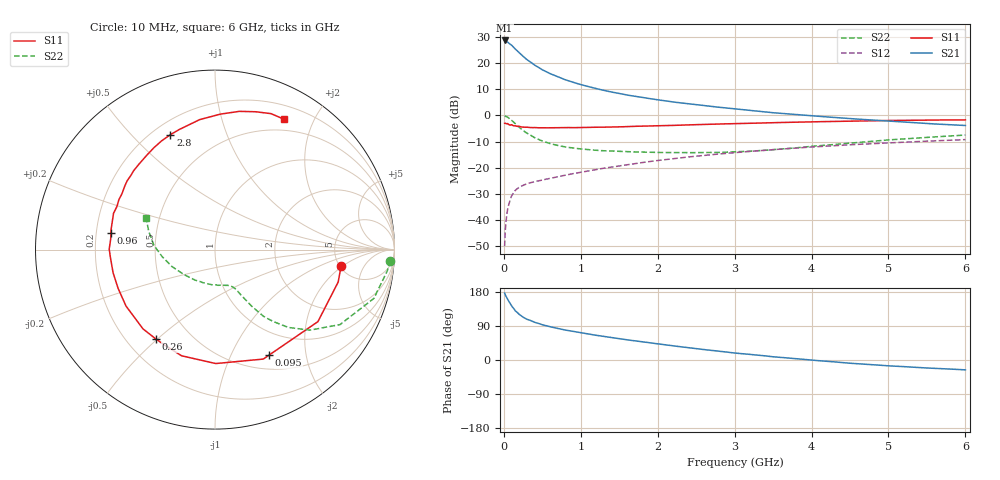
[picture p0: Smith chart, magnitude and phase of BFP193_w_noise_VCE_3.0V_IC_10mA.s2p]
! Infineon Technologies  Discrete & RF Semiconductors
! BFP193
! VCE = 3.0 V,  IC =  10 mA
! Common Emitter S-Parameters:  Jan 2016
# GHz  S  MA  R  50
!  f  S11  S21  S12  S22
! GHz  MAG  ANG  MAG  ANG  MAG  ANG  MAG  ANG
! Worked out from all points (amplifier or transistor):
!   210 points, 10 MHz to 6 GHz, reference 50 ohm
!   highest |S21| = 28.6 dB at 10 MHz (marker M1)
!   |S21| within 3 dB of that: start of sweep to 139.5 MHz
!   unconditionally stable (mu >= 1): 1.005 GHz to 3.741 GHz
!   at 185 MHz: K = 0.32, MSG = 26.0 dB, |S12| = -27.7 dB
!   at 1.52 GHz: K = 1.09, MAG = 11.9 dB, |S12| = -19.1 dB
!   at 6 GHz: K = 0.91, MSG = 2.7 dB, |S12| = -9.2 dB
!   lowest NFmin = 1.30 dB at 450 MHz
!   S11 on the Smith chart (normalised r, x): 10 MHz: 5.11, -1.92; 95 MHz: 0.67, -1.41; 260 MHz: 0.32, -0.49; 960 MHz: 0.26, +0.07; 2.8 GHz: 0.27, +0.65; 6 GHz: 0.36, +1.60
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0.01  0.7082 -7.6  26.98 176.5  0.0032 84.4  0.977 -3.6
0.02  0.7098 -14.7  26.26 171.0  0.0067 80.2  0.9675 -7.0
0.05  0.6999 -35.0  25.04 159.5  0.0164 73.6  0.9259 -17.1
0.095  0.6608 -63.1  22.22 144.7  0.0277 63.0  0.8209 -29.4
0.1  0.6666 -66.2  22.01 142.8  0.029 62.3  0.8119 -31.0
0.15  0.6349 -89.6  18.45 129.6  0.0375 53.2  0.6924 -40.4
0.2  0.6202 -107.5  15.75 120.3  0.0427 48.3  0.5958 -46.7
0.24  0.6005 -118.6  13.86 114.5  0.0456 45.5  0.5304 -50.1
0.26  0.5971 -123.6  13.05 111.9  0.047 44.6  0.5032 -51.6
0.3  0.5966 -132.3  11.63 107.5  0.0497 43.3  0.459 -54.0
0.4  0.5872 -147.6  9.146 99.5  0.0545 41.9  0.3763 -57.0
0.5  0.5814 -158.2  7.438 93.0  0.0584 42.3  0.3244 -58.8
0.7  0.5836 -174.6  5.46 83.0  0.0674 44.6  0.2673 -61.3
0.96  0.5868 171.1  4.036 73.3  0.0803 47.0  0.2333 -64.1
1.02  0.5901 168.2  3.81 71.2  0.0831 47.5  0.2282 -65.0
1.4  0.6035 152.5  2.796 59.3  0.1036 48.6  0.2096 -72.2
2.02  0.6363 132.3  1.968 42.1  0.1392 46.7  0.1963 -88.5
2.8  0.687 111.2  1.432 23.1  0.1838 41.3  0.1969 -115.6
3.1  0.7023 104.6  1.288 16.7  0.2004 38.6  0.2048 -126.7
4.1  0.7597 86.1  0.961 -1.9  0.2548 29.0  0.2642 -161.6
5.1  0.8036 72.4  0.764 -16.4  0.3042 18.5  0.3484 173.5
6  0.8218 62.2  0.643 -26.0  0.3458 8.7  0.4223 155.4
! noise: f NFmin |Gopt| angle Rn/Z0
0.45  1.3  0.22  143  0.11
0.9  1.3  0.34  160  0.11
1.8  2.05  0.54  -153  0.14
